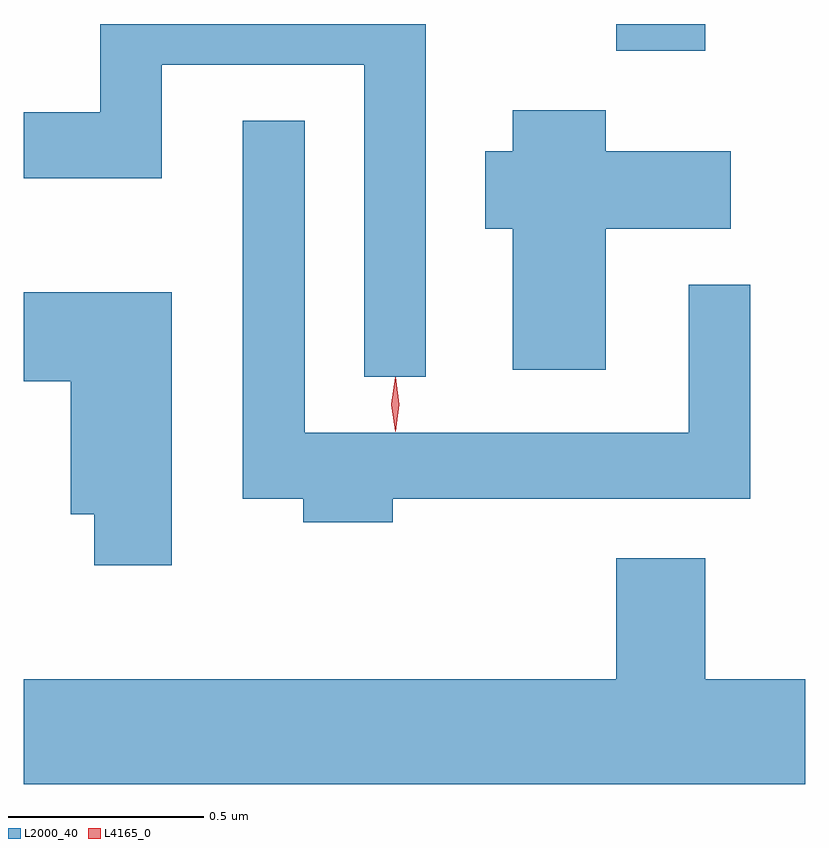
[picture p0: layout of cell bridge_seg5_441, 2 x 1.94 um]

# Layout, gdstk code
import gdstk
lib = gdstk.Library(unit=1e-6, precision=1e-09)
def R(c, l, rs):  # rectangles x0, y0, x1, y1
    for r in rs: c.add(gdstk.rectangle(r[:2], r[2:], *l))
def P(c, l, *ps):  # polygons
    for p in ps: c.add(gdstk.Polygon(p, *l))
L2000_40 = (2000, 40)
L4165_0 = (4165, 0)

bridge_seg5_441 = lib.new_cell('bridge_seg5_441')
R(bridge_seg5_441, L2000_40, [(585.151,1523.051,585.379,1523.12)])
P(bridge_seg5_441, L2000_40, [(584.664,1523.12),(583.831,1523.12),(583.831,1522.894),(583.635,1522.894),(583.635,1522.726),(583.989,1522.726),(583.989,1523.016),(584.506,1523.016),(584.506,1522.218),(584.664,1522.218)],
  [(585.124,1522.596),(585.444,1522.596),(585.444,1522.794),(585.124,1522.794),(585.124,1522.899),(584.886,1522.899),(584.886,1522.794),(584.816,1522.794),(584.816,1522.596),(584.886,1522.596),(584.886,1522.236),(585.124,1522.236)],
  [(584.579,1521.906),(585.494,1521.906),(585.494,1522.453),(585.336,1522.453),(585.336,1522.074),(584.354,1522.074),(584.354,1522.873),(584.196,1522.873),(584.196,1521.906),(584.351,1521.906),(584.351,1521.846),(584.579,1521.846)],
  [(584.014,1522.434),(583.635,1522.434),(583.635,1522.206),(583.756,1522.206),(583.756,1521.866),(583.816,1521.866),(583.816,1521.736),(584.014,1521.736)],
  [(585.635,1521.444),(585.379,1521.444),(585.379,1521.754),(585.151,1521.754),(585.151,1521.444),(583.635,1521.444),(583.635,1521.176),(585.635,1521.176)])
P(bridge_seg5_441, L4165_0, [(584.586,1522.079),(584.586,1522.08),(584.576,1522.146),(584.586,1522.212),(584.586,1522.213),(584.587,1522.212),(584.596,1522.146),(584.587,1522.08)],
  [(584.586,1522.077),(584.586,1522.078),(584.576,1522.147),(584.586,1522.216),(584.586,1522.216),(584.587,1522.216),(584.596,1522.147),(584.587,1522.078)])

lib.write_gds('bridge_seg5_441.gds')
